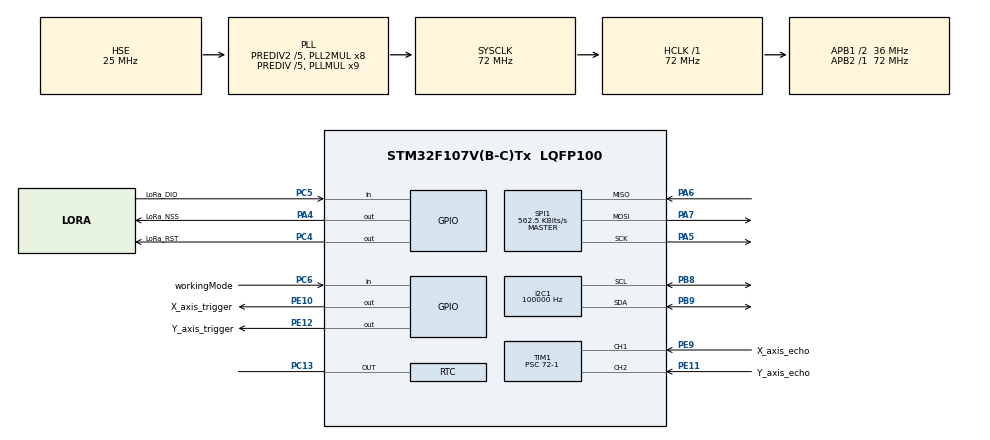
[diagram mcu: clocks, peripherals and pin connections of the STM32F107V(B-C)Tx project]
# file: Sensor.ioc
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I2C1.ClockSpeed=100000
I2C1.I2C_Mode=I2C_Standard
Mcu.Family=STM32F1
Mcu.Name=STM32F107V(B-C)Tx
Mcu.Package=LQFP100
NVIC.PriorityGroup=NVIC_PRIORITYGROUP_4
NVIC.RTC_Alarm_IRQn=true\:0\:0\:false\:false\:true\:true\:true
NVIC.TIM1_CC_IRQn=true\:0\:0\:false\:false\:true\:true\:true
OSC_IN.Mode=HSE-External-Oscillator
OSC_IN.Signal=RCC_OSC_IN
OSC_OUT.Mode=HSE-External-Oscillator
OSC_OUT.Signal=RCC_OSC_OUT
PA13.Mode=Trace_Asynchronous_SW
PA13.Signal=SYS_JTMS-SWDIO
PA14.Mode=Trace_Asynchronous_SW
PA14.Signal=SYS_JTCK-SWCLK
PA4.GPIO_Label=LoRa_NSS
PA4.Signal=GPIO_Output
PA5.Mode=Full_Duplex_Master
PA5.Signal=SPI1_SCK
PA6.Mode=Full_Duplex_Master
PA6.Signal=SPI1_MISO
PA7.Mode=Full_Duplex_Master
PA7.Signal=SPI1_MOSI
PB3.Mode=Trace_Asynchronous_SW
PB3.Signal=SYS_TRACESWO
PB8.Mode=I2C
PB8.Signal=I2C1_SCL
PB9.Mode=I2C
PB9.Signal=I2C1_SDA
PC13-TAMPER-RTC.Mode=RTC OUT
PC13-TAMPER-RTC.Signal=RTC_OUT
PC14-OSC32_IN.Mode=LSE-External-Oscillator
PC14-OSC32_IN.Signal=RCC_OSC32_IN
PC15-OSC32_OUT.Mode=LSE-External-Oscillator
PC15-OSC32_OUT.Signal=RCC_OSC32_OUT
PC4.GPIO_Label=LoRa_RST
PC4.Signal=GPIO_Output
PC5.GPIO_Label=LoRa_DIO
PC5.Signal=GPIO_Input
PC6.GPIO_Label=workingMode
PC6.Signal=GPIO_Input
PE10.GPIO_Label=X_axis_trigger
PE10.Signal=GPIO_Output
PE11.GPIO_Label=Y_axis_echo
PE11.Signal=S_TIM1_CH2
PE12.GPIO_Label=Y_axis_trigger
PE12.Signal=GPIO_Output
PE9.GPIO_Label=X_axis_echo
PE9.Signal=S_TIM1_CH1
ProjectManager.HeapSize=0x200
ProjectManager.StackSize=0x400
ProjectManager.TargetToolchain=STM32CubeIDE
RCC.AHBFreq_Value=72000000
RCC.APB1CLKDivider=RCC_HCLK_DIV2
RCC.APB1Freq_Value=36000000
RCC.APB1TimFreq_Value=72000000
RCC.APB2Freq_Value=72000000
RCC.APB2TimFreq_Value=72000000
RCC.HCLKFreq_Value=72000000
RCC.HSEDivPLL=RCC_HSE_PREDIV_DIV5
RCC.HSE_VALUE=25000000
RCC.PLLMUL=RCC_PLL_MUL9
RCC.PLLSourceVirtual=RCC_PLLSOURCE_HSE
RCC.Prediv1Source=RCC_PREDIV1_SOURCE_PLL2
RCC.Prediv2=RCC_HSE_PREDIV2_DIV5
RCC.SYSCLKFreq_VALUE=72000000
RCC.SYSCLKSource=RCC_SYSCLKSOURCE_PLLCLK
RCC.USBFreq_Value=48000000
RTC.Format=RTC_FORMAT_BIN
RTC.Hours_A-RTC\ OUT=3
SH.S_TIM1_CH1.0=TIM1_CH1,Input_Capture1_from_TI1
SH.S_TIM1_CH2.0=TIM1_CH2,Input_Capture2_from_TI2
SPI1.BaudRatePrescaler=SPI_BAUDRATEPRESCALER_128
SPI1.CalculateBaudRate=562.5 KBits/s
SPI1.Direction=SPI_DIRECTION_2LINES
SPI1.Mode=SPI_MODE_MASTER
SPI1.VirtualType=VM_MASTER
TIM1.Channel-Input_Capture1_from_TI1=TIM_CHANNEL_1
TIM1.Channel-Input_Capture2_from_TI2=TIM_CHANNEL_2
TIM1.Period=65535-1
TIM1.Prescaler=72-1
VP_RTC_VS_RTC_Activate.Mode=RTC_Enabled
VP_RTC_VS_RTC_Calendar.Mode=RTC_Calendar
VP_TIM1_VS_ClockSourceINT.Mode=Internal
board=custom

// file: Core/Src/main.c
/* USER CODE BEGIN Header */
/**
 ******************************************************************************
 * @file           : main.c
 * @brief          : Weather Station Sensor Side Codes
 ******************************************************************************
 * @attention
 *
 * <h2><center>&copy; Copyright (c) 2020 STMicroelectronics.
 * All rights reserved.</center></h2>
 *
 * This software component is licensed by ST under BSD 3-Clause license,
 * the "License"; You may not use this file except in compliance with the
 * License. You may obtain a copy of the License at:
 *                        opensource.org/licenses/BSD-3-Clause
 *
 ******************************************************************************
 */
/* USER CODE END Header */

#include "main.h"

/* USER CODE BEGIN Includes */
#include <string.h>
#include "BMP180.h"
#include "MAX44009.h"
#include "AHT10.h"
#include "QMC5883L.h"
#include "HCSR05.h"
#include "SX1278.h"
/* USER CODE END Includes */

/* USER CODE BEGIN PD */

// Transducers distance
#define HCSR05_DISTANCE 6

// Angle difference between wind sensor x axis and compass x axis
#define HCSR05_ANGLE_DIFFERENCE 0

// LoRa device id
#define DEVICE_ID 12345

/* USER CODE END PD */

I2C_HandleTypeDef hi2c1;

RTC_HandleTypeDef hrtc;

SPI_HandleTypeDef hspi1;

TIM_HandleTypeDef htim1;

/* USER CODE BEGIN PV */
float BMP180_Temperature, lux;
int32_t BMP180_Pressure;
int16_t compass_x, compass_y, compass_z;
int8_t TempHum[2];
float_t X_axis_wind_speed = 0;
float_t Y_axis_wind_speed = 0;
float_t wind[2];
float_t TXData[8];
uint8_t Buffer[64];
SX1278_hw_t SX1278_hw;
SX1278_t SX1278;
/* USER CODE END PV */

void SystemClock_Config(void);
static void MX_GPIO_Init(void);
static void MX_I2C1_Init(void);
static void MX_RTC_Init(void);
static void MX_SPI1_Init(void);
static void MX_TIM1_Init(void);

int main(void) {

	/* MCU Configuration--------------------------------------------------------*/

	/* Reset of all peripherals, Initializes the Flash interface and the Systick. */
	HAL_Init();

	/* Configure the system clock */
	SystemClock_Config();

	/* Initialize all configured peripherals */
	MX_GPIO_Init();
	MX_I2C1_Init();
	MX_RTC_Init();
	MX_SPI1_Init();
	MX_TIM1_Init();
	/* USER CODE BEGIN 2 */

	//BMP180 init
	BMP180_Init(&hi2c1);
	BMP180_SetOversampling(BMP180_LOW);
	BMP180_UpdateCalibrationData();

	// MAx44009 init
	MAX44009_Begin(&hi2c1);

	// HMC5883L init
	QMC5883L_Init(&hi2c1);
	QMC5883L_Set_Sampling_Rate(50);

	// AHT10 init
	AHT10_Init(&hi2c1);

	// HCSR05 delay init
	HCSR05_Init();

	// Initialize LoRa
	SX1278_hw.dio0.port = LoRa_DIO_GPIO_Port;
	SX1278_hw.dio0.pin = LoRa_DIO_Pin;
	SX1278_hw.nss.port = LoRa_NSS_GPIO_Port;
	SX1278_hw.nss.pin = LoRa_NSS_Pin;
	SX1278_hw.reset.port = LoRa_RST_GPIO_Port;
	SX1278_hw.reset.pin = LoRa_RST_Pin;
	SX1278_hw.spi = &hspi1;
	SX1278.hw = &SX1278_hw;
	SX1278_begin(&SX1278, SX1278_433MHZ, SX1278_POWER_20DBM, SX1278_LORA_SF_10,
			SX1278_LORA_BW_250KHZ, 64);

	SX1278_LoRaEntryTx(&SX1278, 64, 2000);

	// Setting TXData constant values
	TXData[0] = DEVICE_ID; // Sender device id
	TXData[1] = 65535; // Receiver device id

	/* USER CODE END 2 */

	/* Infinite loop */
	/* USER CODE BEGIN WHILE */
	while (1) {
		// Reads temperature.
		BMP180_Temperature = BMP180_GetTemperature();
		// Setting TXData
		TXData[2] = BMP180_Temperature; // Temperature

		// Reads pressure.
		BMP180_Pressure = BMP180_GetPressure();
		// Setting TXData
		TXData[3] = BMP180_Pressure; // Pressure

		// Reads light intensity.
		lux = MAX44009_Get_Lux();
		// Setting TXData
		TXData[4] = lux; // Light intensity

		// Reads temperature and hum.
		AHT10_GetTemperature_hum(TempHum);
		// Setting TXData
		TXData[5] = TempHum[1]; // Humidity

		// Reads compass.
		QMC5883L_ReadRaw(&compass_x, &compass_y, &compass_z);

		// Get X axis wind speed
		HCSR05_Ready(X_axis_echo_GPIO_Port, X_axis_echo_Pin, &htim1,
				TIM_CHANNEL_1, HCSR05_DISTANCE, HCSR05_ANGLE_DIFFERENCE);
		X_axis_wind_speed = HCSR05_Get_WindSpeed((int8_t) BMP180_Temperature,
				(uint32_t) BMP180_Pressure, (int8_t) TempHum[1]);

		// Get Y axis wind speed
		HCSR05_Ready(Y_axis_echo_GPIO_Port, Y_axis_echo_Pin, &htim1,
				TIM_CHANNEL_2, HCSR05_DISTANCE, HCSR05_ANGLE_DIFFERENCE);
		Y_axis_wind_speed = HCSR05_Get_WindSpeed((int8_t) BMP180_Temperature,
				(uint32_t) BMP180_Pressure, (int8_t) TempHum[1]);

		// Calculate wind speed and direction
		HCSR05_Calculate_WindSpeedNdAngle(X_axis_wind_speed, Y_axis_wind_speed,
				compass_x, compass_y, wind);
		// Setting TXData
		TXData[6] = wind[0]; // Wind speed
		TXData[7] = wind[1]; // Wind direction

		// Transmit TXData
		memcpy(Buffer, TXData, sizeof(TXData));
		SX1278_transmit(&SX1278, Buffer, sizeof(Buffer), 3000);

		// Check workingMode pin status
		// GPIO_PIN_SET: Normal working mode
		// GPIO_PIN_RESET: Continuous mode
		if (HAL_GPIO_ReadPin(workingMode_GPIO_Port, workingMode_Pin)
				== GPIO_PIN_SET) {
			// It is on normal working mode

			/* Taking a rest after a hard work */

			// Put LoRa to sleep
			SX1278_sleep(&SX1278);

			// Put compass to sleep
			QMC5883L_Sleep();

			// Other sensors are in sleep mode by default

			// Stop tick to reduce MCU power usage
			HAL_SuspendTick();
			// Enter stop mode and wait until interrupt occurred
			HAL_PWR_EnterSTOPMode(PWR_LOWPOWERREGULATOR_ON, PWR_STOPENTRY_WFI);

			// After alarm interrupt
			// Reset RTC
			MX_RTC_Init();
		}

		/* USER CODE END WHILE */

	}
}

void SystemClock_Config(void) {
	RCC_OscInitTypeDef RCC_OscInitStruct = { 0 };
	RCC_ClkInitTypeDef RCC_ClkInitStruct = { 0 };
	RCC_PeriphCLKInitTypeDef PeriphClkInit = { 0 };

	/** Initializes the CPU, AHB and APB busses clocks
	 */
	RCC_OscInitStruct.OscillatorType = RCC_OSCILLATORTYPE_LSI
			| RCC_OSCILLATORTYPE_HSE;
	RCC_OscInitStruct.HSEState = RCC_HSE_ON;
	RCC_OscInitStruct.HSEPredivValue = RCC_HSE_PREDIV_DIV5;
	RCC_OscInitStruct.HSIState = RCC_HSI_ON;
	RCC_OscInitStruct.LSIState = RCC_LSI_ON;
	RCC_OscInitStruct.Prediv1Source = RCC_PREDIV1_SOURCE_PLL2;
	RCC_OscInitStruct.PLL.PLLState = RCC_PLL_ON;
	RCC_OscInitStruct.PLL.PLLSource = RCC_PLLSOURCE_HSE;
	RCC_OscInitStruct.PLL.PLLMUL = RCC_PLL_MUL9;
	RCC_OscInitStruct.PLL2.PLL2State = RCC_PLL2_ON;
	RCC_OscInitStruct.PLL2.PLL2MUL = RCC_PLL2_MUL8;
	RCC_OscInitStruct.PLL2.HSEPrediv2Value = RCC_HSE_PREDIV2_DIV5;
	if (HAL_RCC_OscConfig(&RCC_OscInitStruct) != HAL_OK) {
		Error_Handler();
	}
	/** Initializes the CPU, AHB and APB busses clocks
	 */
	RCC_ClkInitStruct.ClockType = RCC_CLOCKTYPE_HCLK | RCC_CLOCKTYPE_SYSCLK
			| RCC_CLOCKTYPE_PCLK1 | RCC_CLOCKTYPE_PCLK2;
	RCC_ClkInitStruct.SYSCLKSource = RCC_SYSCLKSOURCE_PLLCLK;
	RCC_ClkInitStruct.AHBCLKDivider = RCC_SYSCLK_DIV1;
	RCC_ClkInitStruct.APB1CLKDivider = RCC_HCLK_DIV2;
	RCC_ClkInitStruct.APB2CLKDivider = RCC_HCLK_DIV1;

	if (HAL_RCC_ClockConfig(&RCC_ClkInitStruct, FLASH_LATENCY_2) != HAL_OK) {
		Error_Handler();
	}
	PeriphClkInit.PeriphClockSelection = RCC_PERIPHCLK_RTC;
	PeriphClkInit.RTCClockSelection = RCC_RTCCLKSOURCE_LSI;
	if (HAL_RCCEx_PeriphCLKConfig(&PeriphClkInit) != HAL_OK) {
		Error_Handler();
	}
	/** Configure the Systick interrupt time
	 */
	__HAL_RCC_PLLI2S_ENABLE();
}

static void MX_I2C1_Init(void) {

	hi2c1.Instance = I2C1;
	hi2c1.Init.ClockSpeed = 100000;
	hi2c1.Init.DutyCycle = I2C_DUTYCYCLE_2;
	hi2c1.Init.OwnAddress1 = 0;
	hi2c1.Init.AddressingMode = I2C_ADDRESSINGMODE_7BIT;
	hi2c1.Init.DualAddressMode = I2C_DUALADDRESS_DISABLE;
	hi2c1.Init.OwnAddress2 = 0;
	hi2c1.Init.GeneralCallMode = I2C_GENERALCALL_DISABLE;
	hi2c1.Init.NoStretchMode = I2C_NOSTRETCH_DISABLE;
	if (HAL_I2C_Init(&hi2c1) != HAL_OK) {
		Error_Handler();
	}

}

static void MX_RTC_Init(void) {

	RTC_TimeTypeDef sTime = { 0 };
	RTC_DateTypeDef DateToUpdate = { 0 };
	RTC_AlarmTypeDef sAlarm = { 0 };

	/** Initialize RTC Only
	 */
	hrtc.Instance = RTC;
	hrtc.Init.AsynchPrediv = RTC_AUTO_1_SECOND;
	hrtc.Init.OutPut = RTC_OUTPUTSOURCE_ALARM;
	if (HAL_RTC_Init(&hrtc) != HAL_OK) {
		Error_Handler();
	}

	/** Initialize RTC and set the Time and Date
	 */
	sTime.Hours = 0;
	sTime.Minutes = 0;
	sTime.Seconds = 0;

	if (HAL_RTC_SetTime(&hrtc, &sTime, RTC_FORMAT_BIN) != HAL_OK) {
		Error_Handler();
	}
	DateToUpdate.WeekDay = RTC_WEEKDAY_MONDAY;
	DateToUpdate.Month = RTC_MONTH_JANUARY;
	DateToUpdate.Date = 1;
	DateToUpdate.Year = 0;

	if (HAL_RTC_SetDate(&hrtc, &DateToUpdate, RTC_FORMAT_BIN) != HAL_OK) {
		Error_Handler();
	}
	/** Enable the Alarm A
	 */
	sAlarm.AlarmTime.Hours = 3;
	sAlarm.AlarmTime.Minutes = 0;
	sAlarm.AlarmTime.Seconds = 0;
	sAlarm.Alarm = RTC_ALARM_A;
	if (HAL_RTC_SetAlarm_IT(&hrtc, &sAlarm, RTC_FORMAT_BIN) != HAL_OK) {
		Error_Handler();
	}

}

static void MX_SPI1_Init(void) {

	/* SPI1 parameter configuration*/
	hspi1.Instance = SPI1;
	hspi1.Init.Mode = SPI_MODE_MASTER;
	hspi1.Init.Direction = SPI_DIRECTION_2LINES;
	hspi1.Init.DataSize = SPI_DATASIZE_8BIT;
	hspi1.Init.CLKPolarity = SPI_POLARITY_LOW;
	hspi1.Init.CLKPhase = SPI_PHASE_1EDGE;
	hspi1.Init.NSS = SPI_NSS_SOFT;
	hspi1.Init.BaudRatePrescaler = SPI_BAUDRATEPRESCALER_128;
	hspi1.Init.FirstBit = SPI_FIRSTBIT_MSB;
	hspi1.Init.TIMode = SPI_TIMODE_DISABLE;
	hspi1.Init.CRCCalculation = SPI_CRCCALCULATION_DISABLE;
	hspi1.Init.CRCPolynomial = 10;
	if (HAL_SPI_Init(&hspi1) != HAL_OK) {
		Error_Handler();
	}

}

static void MX_TIM1_Init(void) {

	TIM_ClockConfigTypeDef sClockSourceConfig = { 0 };
	TIM_MasterConfigTypeDef sMasterConfig = { 0 };
	TIM_IC_InitTypeDef sConfigIC = { 0 };

	htim1.Instance = TIM1;
	htim1.Init.Prescaler = 72 - 1;
	htim1.Init.CounterMode = TIM_COUNTERMODE_UP;
	htim1.Init.Period = 65535 - 1;
	htim1.Init.ClockDivision = TIM_CLOCKDIVISION_DIV1;
	htim1.Init.RepetitionCounter = 0;
	htim1.Init.AutoReloadPreload = TIM_AUTORELOAD_PRELOAD_DISABLE;
	if (HAL_TIM_Base_Init(&htim1) != HAL_OK) {
		Error_Handler();
	}
	sClockSourceConfig.ClockSource = TIM_CLOCKSOURCE_INTERNAL;
	if (HAL_TIM_ConfigClockSource(&htim1, &sClockSourceConfig) != HAL_OK) {
		Error_Handler();
	}
	if (HAL_TIM_IC_Init(&htim1) != HAL_OK) {
		Error_Handler();
	}
	sMasterConfig.MasterOutputTrigger = TIM_TRGO_RESET;
	sMasterConfig.MasterSlaveMode = TIM_MASTERSLAVEMODE_DISABLE;
	if (HAL_TIMEx_MasterConfigSynchronization(&htim1, &sMasterConfig)
			!= HAL_OK) {
		Error_Handler();
	}
	sConfigIC.ICPolarity = TIM_INPUTCHANNELPOLARITY_RISING;
	sConfigIC.ICSelection = TIM_ICSELECTION_DIRECTTI;
	sConfigIC.ICPrescaler = TIM_ICPSC_DIV1;
	sConfigIC.ICFilter = 0;
	if (HAL_TIM_IC_ConfigChannel(&htim1, &sConfigIC, TIM_CHANNEL_1) != HAL_OK) {
		Error_Handler();
	}
	if (HAL_TIM_IC_ConfigChannel(&htim1, &sConfigIC, TIM_CHANNEL_2) != HAL_OK) {
		Error_Handler();
	}

}

static void MX_GPIO_Init(void) {
	GPIO_InitTypeDef GPIO_InitStruct = { 0 };

	/* GPIO Ports Clock Enable */
	__HAL_RCC_GPIOC_CLK_ENABLE();
	__HAL_RCC_GPIOA_CLK_ENABLE();
	__HAL_RCC_GPIOE_CLK_ENABLE();
	__HAL_RCC_GPIOB_CLK_ENABLE();

	/*Configure GPIO pin Output Level */
	HAL_GPIO_WritePin(LoRa_NSS_GPIO_Port, LoRa_NSS_Pin, GPIO_PIN_RESET);

	/*Configure GPIO pin Output Level */
	HAL_GPIO_WritePin(LoRa_RST_GPIO_Port, LoRa_RST_Pin, GPIO_PIN_RESET);

	/*Configure GPIO pin Output Level */
	HAL_GPIO_WritePin(GPIOE, X_axis_trigger_Pin | Y_axis_trigger_Pin,
			GPIO_PIN_RESET);

	/*Configure GPIO pin : LoRa_NSS_Pin */
	GPIO_InitStruct.Pin = LoRa_NSS_Pin;
	GPIO_InitStruct.Mode = GPIO_MODE_OUTPUT_PP;
	GPIO_InitStruct.Pull = GPIO_NOPULL;
	GPIO_InitStruct.Speed = GPIO_SPEED_FREQ_LOW;
	HAL_GPIO_Init(LoRa_NSS_GPIO_Port, &GPIO_InitStruct);

	/*Configure GPIO pin : LoRa_RST_Pin */
	GPIO_InitStruct.Pin = LoRa_RST_Pin;
	GPIO_InitStruct.Mode = GPIO_MODE_OUTPUT_PP;
	GPIO_InitStruct.Pull = GPIO_NOPULL;
	GPIO_InitStruct.Speed = GPIO_SPEED_FREQ_LOW;
	HAL_GPIO_Init(LoRa_RST_GPIO_Port, &GPIO_InitStruct);

	/*Configure GPIO pins : LoRa_DIO_Pin workingMode_Pin */
	GPIO_InitStruct.Pin = LoRa_DIO_Pin | workingMode_Pin;
	GPIO_InitStruct.Mode = GPIO_MODE_INPUT;
	GPIO_InitStruct.Pull = GPIO_NOPULL;
	HAL_GPIO_Init(GPIOC, &GPIO_InitStruct);

	/*Configure GPIO pins : X_axis_trigger_Pin Y_axis_trigger_Pin */
	GPIO_InitStruct.Pin = X_axis_trigger_Pin | Y_axis_trigger_Pin;
	GPIO_InitStruct.Mode = GPIO_MODE_OUTPUT_PP;
	GPIO_InitStruct.Pull = GPIO_NOPULL;
	GPIO_InitStruct.Speed = GPIO_SPEED_FREQ_LOW;
	HAL_GPIO_Init(GPIOE, &GPIO_InitStruct);

}

/* USER CODE BEGIN 4 */

/**
 * @brief Timer Capture Callback
 * @param htim
 * @retval None
 */
void HAL_TIM_IC_CaptureCallback(TIM_HandleTypeDef *htim) {
	HCSR05_TIM_Callback(htim);
}

/**
 * @brief Alarm Event Callback Function
 * @param hrtc
 * @retval None
 */
void HAL_RTC_AlarmAEventCallback(RTC_HandleTypeDef *hrtc) {
	SystemClock_Config();
	HAL_ResumeTick();
}

/* USER CODE END 4 */

void Error_Handler(void) {
}

/************************ (C) COPYRIGHT STMicroelectronics *****END OF FILE****/
